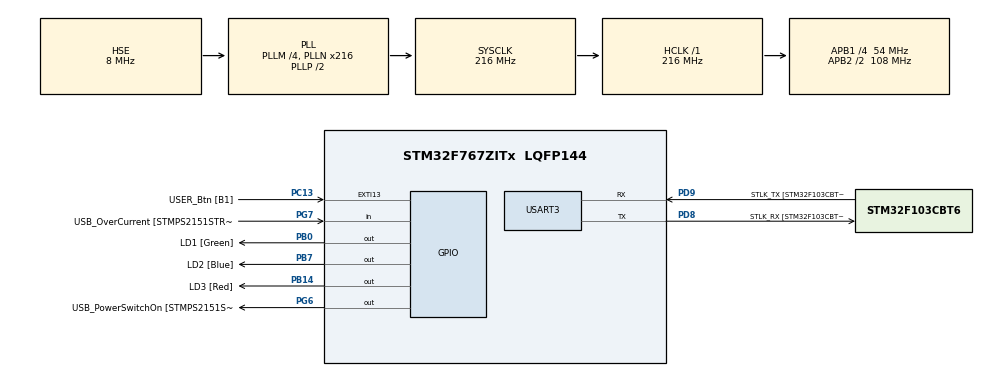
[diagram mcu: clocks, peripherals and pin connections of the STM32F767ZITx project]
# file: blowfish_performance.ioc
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Mcu.Family=STM32F7
Mcu.Name=STM32F767ZITx
Mcu.Package=LQFP144
NVIC.PriorityGroup=NVIC_PRIORITYGROUP_4
NVIC.USART3_IRQn=true\:0\:0\:false\:false\:true\:true\:true\:true
PA13.GPIO_Label=TMS
PA13.Mode=Trace_Asynchronous_SW
PA13.Signal=SYS_JTMS-SWDIO
PA14.GPIO_Label=TCK
PA14.Mode=Trace_Asynchronous_SW
PA14.Signal=SYS_JTCK-SWCLK
PB0.GPIO_Label=LD1 [Green]
PB0.Signal=GPIO_Output
PB14.GPIO_Label=LD3 [Red]
PB14.Signal=GPIO_Output
PB3.GPIO_Label=SWO
PB3.Mode=Trace_Asynchronous_SW
PB3.Signal=SYS_JTDO-SWO
PB7.GPIO_Label=LD2 [Blue]
PB7.Signal=GPIO_Output
PC13.GPIO_Label=USER_Btn [B1]
PC13.Signal=GPXTI13
PC14/OSC32_IN.Mode=LSE-External-Oscillator
PC14/OSC32_IN.Signal=RCC_OSC32_IN
PC15/OSC32_OUT.Mode=LSE-External-Oscillator
PC15/OSC32_OUT.Signal=RCC_OSC32_OUT
PD8.GPIO_Label=STLK_RX [STM32F103CBT6_PA3]
PD8.Mode=Asynchronous
PD8.Signal=USART3_TX
PD9.GPIO_Label=STLK_TX [STM32F103CBT6_PA2]
PD9.Mode=Asynchronous
PD9.Signal=USART3_RX
PG6.GPIO_Label=USB_PowerSwitchOn [STMPS2151STR_EN]
PG6.Signal=GPIO_Output
PG7.GPIO_Label=USB_OverCurrent [STMPS2151STR_FAULT]
PG7.Signal=GPIO_Input
PH0/OSC_IN.GPIO_Label=MCO [STM32F103CBT6_PA8]
PH0/OSC_IN.Mode=HSE-External-Clock-Source
PH0/OSC_IN.Signal=RCC_OSC_IN
PH1/OSC_OUT.Mode=HSE-External-Clock-Source
PH1/OSC_OUT.Signal=RCC_OSC_OUT
ProjectManager.HeapSize=0x200
ProjectManager.StackSize=0x400
ProjectManager.TargetToolchain=STM32CubeIDE
RCC.48MHZClocksFreq_Value=24000000
RCC.AHBFreq_Value=216000000
RCC.APB1CLKDivider=RCC_HCLK_DIV4
RCC.APB1Freq_Value=54000000
RCC.APB1TimFreq_Value=108000000
RCC.APB2CLKDivider=RCC_HCLK_DIV2
RCC.APB2Freq_Value=108000000
RCC.APB2TimFreq_Value=216000000
RCC.CortexFreq_Value=216000000
RCC.HCLKFreq_Value=216000000
RCC.HSE_VALUE=8000000
RCC.HSI_VALUE=16000000
RCC.PLLM=4
RCC.PLLMUL=RCC_PLL_MUL9
RCC.PLLN=216
RCC.PLLQ=9
RCC.PLLSourceVirtual=RCC_PLLSOURCE_HSE
RCC.PRESCALERUSB=RCC_USBCLKSOURCE_PLL_DIV1_5
RCC.SYSCLKFreq_VALUE=216000000
RCC.SYSCLKSource=RCC_SYSCLKSOURCE_PLLCLK
RCC.SYSCLKSourceVirtual=RCC_SYSCLKSOURCE_PLLCLK
RCC.USBFreq_Value=48000000
RCC.VCOOutputFreq_Value=432000000
TIM11.Prescaler=95
USART3.VirtualMode-Asynchronous=VM_ASYNC
VP_CRC_VS_CRC.Mode=CRC_Activate
VP_RNG_VS_RNG.Mode=RNG_Activate
VP_TIM11_VS_ClockSourceINT.Mode=Enable_Timer
board=NUCLEO-F767ZI

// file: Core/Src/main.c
/* USER CODE BEGIN Header */
/**
  ******************************************************************************
  * @file           : main.c
  * @brief          : Main program body
  ******************************************************************************
  * @details
  * This firmware shows encryption and decryption using the Blowfish algorithm
  * on an STM32767ZI board. It shows the benchmarking over 100 encryption-decryption
  * cycles using TIM11. UART is used to output results.
  *
  *
  ******************************************************************************
  */
/* USER CODE END Header */
#include "main.h"
#include "blowfish.h"
#include <stdio.h>
#include "string.h"
/* USER CODE BEGIN Includes */
#include "stm32f7xx_ll_cortex.h"
/* USER CODE END Includes */

CRC_HandleTypeDef hcrc;

RNG_HandleTypeDef hrng;

TIM_HandleTypeDef htim11;

UART_HandleTypeDef huart3;

/* USER CODE BEGIN PV */
uint32_t bf_plain[2]  = { 0x12300325, 0x89646238 }; // 64-bit plaintext
uint32_t bf_cipher[2], bf_dec[2];					// Ciphertext and decrypted buffers

uint32_t bf_key[4] = {								// 128-bit key (4×32-bit words)
  0xABCDEFAB, 0xCDEFABCD,
  0xEFABCDEF, 0xABCDEFAB
};

BLOWFISH_CTX bf_ctx;
/* USER CODE END PV */

void SystemClock_Config(void);
static void MX_GPIO_Init(void);
static void MX_USART3_UART_Init(void);
static void MX_CRC_Init(void);
static void MX_RNG_Init(void);
static void MX_TIM11_Init(void);
/* USER CODE BEGIN PFP */
#ifdef __GNUC__
  #define PUTCHAR_PROTOTYPE int __io_putchar(int ch)
#else
  #define PUTCHAR_PROTOTYPE int fputc(int ch, FILE *f)
#endif

PUTCHAR_PROTOTYPE
{
  HAL_UART_Transmit(&huart3, (uint8_t*)&ch, 1, HAL_MAX_DELAY);
  return ch;
}
uint32_t getCurrentMicros(void);  // Microsecond timer using SysTick functions
/* USER CODE END PFP */

int main(void)
{

  /* MCU Configuration--------------------------------------------------------*/

  /* Reset of all peripherals, Initializes the Flash interface and the Systick. */
  HAL_Init();

  /* Configure the system clock */
  SystemClock_Config();

  /* Initialize all configured peripherals */
  MX_GPIO_Init();
  MX_USART3_UART_Init();
  MX_CRC_Init();
  MX_RNG_Init();
  MX_TIM11_Init();
  /* USER CODE BEGIN 2 */
  HAL_TIM_Base_Start(&htim11);

  // Initialise Blowfish context with key
    memcpy(&bf_ctx, &(BLOWFISH_CTX){0}, sizeof(bf_ctx));
    Blowfish_Init(&bf_ctx, (uint8_t*)bf_key, sizeof(bf_key));

    // One-off test encryption/decryption and serial output
    Blowfish_Encrypt(&bf_ctx, &bf_plain[0], &bf_plain[1]);
    memcpy(bf_cipher, bf_plain, sizeof(bf_cipher));
    printf("BF test CT: {%08lx %08lx}\r\n",
           (unsigned long)bf_cipher[1],
           (unsigned long)bf_cipher[0]);

    Blowfish_Decrypt(&bf_ctx, &bf_cipher[0], &bf_cipher[1]);
    memcpy(bf_dec, bf_cipher, sizeof(bf_dec));
    printf("BF test PT: {%08lx %08lx}\r\n",
           (unsigned long)bf_dec[1],
           (unsigned long)bf_dec[0]);

    HAL_Delay(1000);
  /* USER CODE END 2 */

  /* Infinite loop */
    while (1)
       {

         /* USER CODE BEGIN 3 */
         // Repeated Blowfish test
         Blowfish_Encrypt(&bf_ctx, &bf_plain[0], &bf_plain[1]);
         memcpy(bf_cipher, bf_plain, sizeof(bf_cipher));
         printf("BF test CT: {%08lx %08lx}\r\n",
                (unsigned long)bf_cipher[1],
                (unsigned long)bf_cipher[0]);

         Blowfish_Decrypt(&bf_ctx, &bf_cipher[0], &bf_cipher[1]);
         memcpy(bf_dec, bf_cipher, sizeof(bf_dec));
         printf("BF test PT: {%08lx %08lx}\r\n",
                (unsigned long)bf_dec[1],
                (unsigned long)bf_dec[0]);

         HAL_Delay(500);

         // 2) Performance for 100‐run benchmark
         uint32_t start_time = getCurrentMicros();
         for (int i = 0; i < 100; i++) {
             memcpy(bf_plain, (uint32_t[]){0x12300325, 0x89646238}, sizeof(bf_plain));
             Blowfish_Encrypt(&bf_ctx, &bf_plain[0], &bf_plain[1]);
             Blowfish_Decrypt(&bf_ctx, &bf_plain[0], &bf_plain[1]);
         }
         uint32_t end_time = getCurrentMicros();
         uint32_t elapsed = end_time - start_time;

         // Output timing results
         char uart_buf[64];
         int len = snprintf(uart_buf, sizeof(uart_buf),
                            "Blowfish (100 runs): %lu µs\r\n",
                            (unsigned long)elapsed);
         HAL_UART_Transmit(&huart3, (uint8_t*)uart_buf, len, HAL_MAX_DELAY);

         HAL_Delay(1000); // One-second wait
         /* USER CODE END 3 */
       }
  /* USER CODE END 3 */
}

void SystemClock_Config(void)
{
  RCC_OscInitTypeDef RCC_OscInitStruct = {0};
  RCC_ClkInitTypeDef RCC_ClkInitStruct = {0};

  /** Configure LSE Drive Capability
  */
  HAL_PWR_EnableBkUpAccess();

  /** Configure the main internal regulator output voltage
  */
  __HAL_RCC_PWR_CLK_ENABLE();
  __HAL_PWR_VOLTAGESCALING_CONFIG(PWR_REGULATOR_VOLTAGE_SCALE1);

  /** Initializes the RCC Oscillators according to the specified parameters
  * in the RCC_OscInitTypeDef structure.
  */
  RCC_OscInitStruct.OscillatorType = RCC_OSCILLATORTYPE_HSE;
  RCC_OscInitStruct.HSEState = RCC_HSE_BYPASS;
  RCC_OscInitStruct.PLL.PLLState = RCC_PLL_ON;
  RCC_OscInitStruct.PLL.PLLSource = RCC_PLLSOURCE_HSE;
  RCC_OscInitStruct.PLL.PLLM = 4;
  RCC_OscInitStruct.PLL.PLLN = 216;
  RCC_OscInitStruct.PLL.PLLP = RCC_PLLP_DIV2;
  RCC_OscInitStruct.PLL.PLLQ = 9;
  RCC_OscInitStruct.PLL.PLLR = 2;
  if (HAL_RCC_OscConfig(&RCC_OscInitStruct) != HAL_OK)
  {
    Error_Handler();
  }

  /** Activate the Over-Drive mode
  */
  if (HAL_PWREx_EnableOverDrive() != HAL_OK)
  {
    Error_Handler();
  }

  /** Initializes the CPU, AHB and APB buses clocks
  */
  RCC_ClkInitStruct.ClockType = RCC_CLOCKTYPE_HCLK|RCC_CLOCKTYPE_SYSCLK
                              |RCC_CLOCKTYPE_PCLK1|RCC_CLOCKTYPE_PCLK2;
  RCC_ClkInitStruct.SYSCLKSource = RCC_SYSCLKSOURCE_PLLCLK;
  RCC_ClkInitStruct.AHBCLKDivider = RCC_SYSCLK_DIV1;
  RCC_ClkInitStruct.APB1CLKDivider = RCC_HCLK_DIV4;
  RCC_ClkInitStruct.APB2CLKDivider = RCC_HCLK_DIV2;

  if (HAL_RCC_ClockConfig(&RCC_ClkInitStruct, FLASH_LATENCY_7) != HAL_OK)
  {
    Error_Handler();
  }
}

static void MX_CRC_Init(void)
{

  hcrc.Instance = CRC;
  hcrc.Init.DefaultPolynomialUse = DEFAULT_POLYNOMIAL_ENABLE;
  hcrc.Init.DefaultInitValueUse = DEFAULT_INIT_VALUE_ENABLE;
  hcrc.Init.InputDataInversionMode = CRC_INPUTDATA_INVERSION_NONE;
  hcrc.Init.OutputDataInversionMode = CRC_OUTPUTDATA_INVERSION_DISABLE;
  hcrc.InputDataFormat = CRC_INPUTDATA_FORMAT_BYTES;
  if (HAL_CRC_Init(&hcrc) != HAL_OK)
  {
    Error_Handler();
  }

}

static void MX_RNG_Init(void)
{

  hrng.Instance = RNG;
  if (HAL_RNG_Init(&hrng) != HAL_OK)
  {
    Error_Handler();
  }

}

static void MX_TIM11_Init(void)
{

  htim11.Instance = TIM11;
  htim11.Init.Prescaler = 95;
  htim11.Init.CounterMode = TIM_COUNTERMODE_UP;
  htim11.Init.Period = 65535;
  htim11.Init.ClockDivision = TIM_CLOCKDIVISION_DIV1;
  htim11.Init.AutoReloadPreload = TIM_AUTORELOAD_PRELOAD_DISABLE;
  if (HAL_TIM_Base_Init(&htim11) != HAL_OK)
  {
    Error_Handler();
  }

}

static void MX_USART3_UART_Init(void)
{

  huart3.Instance = USART3;
  huart3.Init.BaudRate = 115200;
  huart3.Init.WordLength = UART_WORDLENGTH_8B;
  huart3.Init.StopBits = UART_STOPBITS_1;
  huart3.Init.Parity = UART_PARITY_NONE;
  huart3.Init.Mode = UART_MODE_TX_RX;
  huart3.Init.HwFlowCtl = UART_HWCONTROL_NONE;
  huart3.Init.OverSampling = UART_OVERSAMPLING_16;
  huart3.Init.OneBitSampling = UART_ONE_BIT_SAMPLE_DISABLE;
  huart3.AdvancedInit.AdvFeatureInit = UART_ADVFEATURE_NO_INIT;
  if (HAL_UART_Init(&huart3) != HAL_OK)
  {
    Error_Handler();
  }

}

static void MX_GPIO_Init(void)
{
  GPIO_InitTypeDef GPIO_InitStruct = {0};

  /* GPIO Ports Clock Enable */
  __HAL_RCC_GPIOC_CLK_ENABLE();
  __HAL_RCC_GPIOH_CLK_ENABLE();
  __HAL_RCC_GPIOB_CLK_ENABLE();
  __HAL_RCC_GPIOD_CLK_ENABLE();
  __HAL_RCC_GPIOG_CLK_ENABLE();
  __HAL_RCC_GPIOA_CLK_ENABLE();

  /*Configure GPIO pin Output Level */
  HAL_GPIO_WritePin(GPIOB, LD1_Pin|LD3_Pin|LD2_Pin, GPIO_PIN_RESET);

  /*Configure GPIO pin Output Level */
  HAL_GPIO_WritePin(USB_PowerSwitchOn_GPIO_Port, USB_PowerSwitchOn_Pin, GPIO_PIN_RESET);

  /*Configure GPIO pin : USER_Btn_Pin */
  GPIO_InitStruct.Pin = USER_Btn_Pin;
  GPIO_InitStruct.Mode = GPIO_MODE_IT_RISING;
  GPIO_InitStruct.Pull = GPIO_NOPULL;
  HAL_GPIO_Init(USER_Btn_GPIO_Port, &GPIO_InitStruct);

  /*Configure GPIO pins : LD1_Pin LD3_Pin LD2_Pin */
  GPIO_InitStruct.Pin = LD1_Pin|LD3_Pin|LD2_Pin;
  GPIO_InitStruct.Mode = GPIO_MODE_OUTPUT_PP;
  GPIO_InitStruct.Pull = GPIO_NOPULL;
  GPIO_InitStruct.Speed = GPIO_SPEED_FREQ_LOW;
  HAL_GPIO_Init(GPIOB, &GPIO_InitStruct);

  /*Configure GPIO pin : USB_PowerSwitchOn_Pin */
  GPIO_InitStruct.Pin = USB_PowerSwitchOn_Pin;
  GPIO_InitStruct.Mode = GPIO_MODE_OUTPUT_PP;
  GPIO_InitStruct.Pull = GPIO_NOPULL;
  GPIO_InitStruct.Speed = GPIO_SPEED_FREQ_LOW;
  HAL_GPIO_Init(USB_PowerSwitchOn_GPIO_Port, &GPIO_InitStruct);

  /*Configure GPIO pin : USB_OverCurrent_Pin */
  GPIO_InitStruct.Pin = USB_OverCurrent_Pin;
  GPIO_InitStruct.Mode = GPIO_MODE_INPUT;
  GPIO_InitStruct.Pull = GPIO_NOPULL;
  HAL_GPIO_Init(USB_OverCurrent_GPIO_Port, &GPIO_InitStruct);

}

/* USER CODE BEGIN 4 */

// Microsecond function for timing using SysTick
uint32_t getCurrentMicros(void)
{
    LL_SYSTICK_IsActiveCounterFlag();
    uint32_t m = HAL_GetTick();
    const uint32_t tms = SysTick->LOAD + 1;
    __IO uint32_t u = tms - SysTick->VAL;
    if (LL_SYSTICK_IsActiveCounterFlag())
    {
        m = HAL_GetTick();
        u = tms - SysTick->VAL;
    }
    return (m * 1000 + (u * 1000) / tms);
}
/* USER CODE END 4 */

void Error_Handler(void)
{
  __disable_irq();
  while (1)
  {
  }
}
